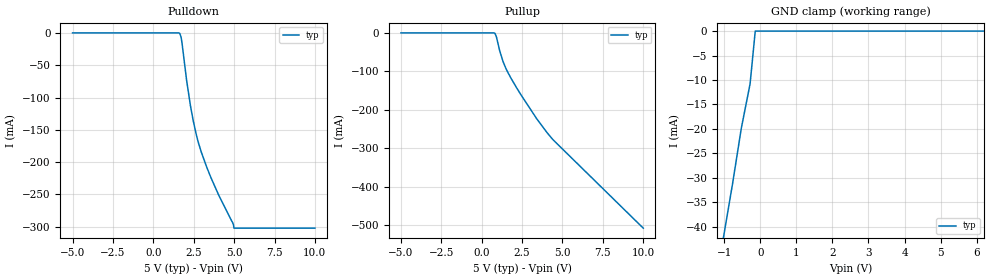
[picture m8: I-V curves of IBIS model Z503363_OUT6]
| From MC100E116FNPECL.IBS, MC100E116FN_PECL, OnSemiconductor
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| (C) COPYRIGHT 1993-2000
| MENTOR GRAPHICS CORPORATION
| ICX STANDARD LIBRARY, ICX PROJECT MODELING,
| ICX CUSTOM MODELING, ICX VENDOR MODEL
| ALL RIGHTS RESERVED.
| THE FOLLOWING ARE TRADEMARKS OR SERVICE MARKS OF
| MENTOR GRAPHICS CORPORATION:ICX (R), ICX STANDARD
| LIBRARY(R), ICX PROJECT MODELING(R), ICX CUSTOM
| MODELING(R), qualityIBIS(TM), MODELVIEWER(TM),
| AND MODELEDITOR(TM)
| ALL COPIES OF SOFTWARE, INCLUDING BUT NOT LIMITED TO
| ANY MODIFICATIONS, ENHANCEMENTS OR DERIVATIVE WORKS,
| MUST CONTAIN ALL MENTOR GRAPHICS CORPORATION'S
| NOTICES AND LEGENDS, INCLUDING THOSE EMBEDDED IN
| SOFTWARE AND THOSE AFFIXED TO SOFTWARE MEDIUM
| AND CONTAINER, AS RECEIVED FROM MENTOR GRAPHICS
| CORPORATION.
| Model Application Version 1.89 2/18/99.
[Model] Z503363_OUT6
Model_type Output_ECL
Vref=3.000V
Rref=50.00ohms
Cref=0.000F
Vmeas=3.677V
C_comp 8.000pF NA NA
| variable typ   min   max
[Voltage Range] 5.000V NA NA
[POWER Clamp Reference] 5.000V NA NA
[Pullup Reference] 5.000V NA NA
[Pulldown Reference] 5.000V NA NA
[GND Clamp Reference] 0.000V NA NA
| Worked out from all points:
|   GND clamp passes 1 mA (typ) near -0.16 V on its own axis
[GND Clamp]
-5V       -215.1mA   NA         NA
-775mV    -31.3mA    NA         NA
-531mV    -19.9mA    NA         NA
-287mV    -10.8mA    NA         NA
-143.5mV  0A         NA         NA
10V       0A         NA         NA
[Pulldown]
-5V       0A         NA         NA
1.633V    -700uA     NA         NA
1.715V    -6.2mA     NA         NA
1.776V    -15.8mA    NA         NA
2.06V     -73.5mA    NA         NA
2.303V    -113.6mA   NA         NA
2.465V    -135.2mA   NA         NA
2.77V     -168.3mA   NA         NA
3.561V    -223.7mA   NA         NA
4.92V     -294.3mA   NA         NA
4.992V    -302.1mA   NA         NA
10V       -302.1mA   NA         NA
[Pullup]
-5V       0A         NA         NA
807mV     -900uA     NA         NA
908mV     -9.9mA     NA         NA
1.111V    -46.1mA    NA         NA
1.314V    -73.9mA    NA         NA
1.517V    -94.4mA    NA         NA
1.76V     -114mA     NA         NA
2.45V     -162.4mA   NA         NA
3.404V    -223.3mA   NA         NA
4.013V    -257.8mA   NA         NA
4.398V    -277.3mA   NA         NA
10V       -508mA     NA         NA
[POWER Clamp]
-5V       0A         NA         NA
10V       0A         NA         NA
[Ramp]
| variable typ min max
dV/dt_r 493.1m/240.7p NA NA
dV/dt_f 493.1m/167.7p NA NA
R_load = 500.0Ohms
